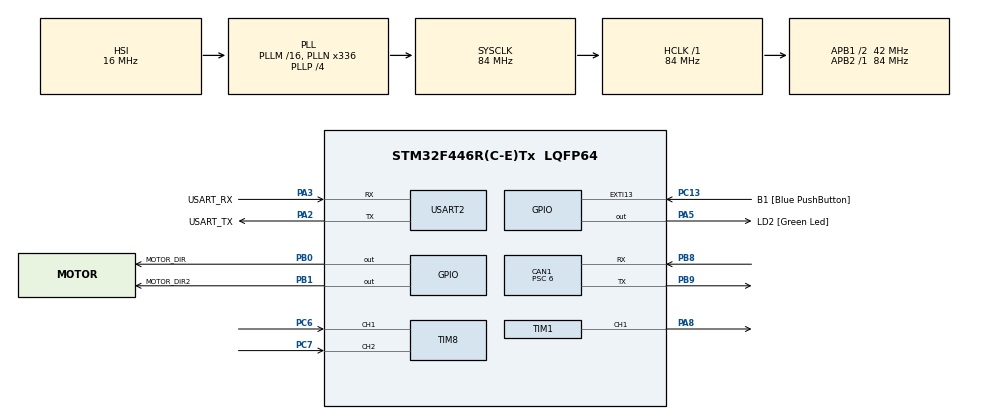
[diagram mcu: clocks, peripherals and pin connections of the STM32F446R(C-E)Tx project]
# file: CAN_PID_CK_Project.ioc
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CAN1.ABOM=ENABLE
CAN1.BS1=CAN_BS1_11TQ
CAN1.BS2=CAN_BS2_2TQ
CAN1.CalculateBaudRate=500000
CAN1.CalculateTimeBit=2000
CAN1.CalculateTimeQuantum=142.85714285714286
CAN1.Mode=CAN_MODE_LOOPBACK
CAN1.Prescaler=6
IWDG.Prescaler=IWDG_PRESCALER_32
IWDG.Reload=2000
Mcu.Family=STM32F4
Mcu.Name=STM32F446R(C-E)Tx
Mcu.Package=LQFP64
NVIC.CAN1_RX0_IRQn=true\:0\:0\:false\:false\:true\:true\:true\:true
NVIC.EXTI15_10_IRQn=true\:0\:0\:false\:false\:true\:true\:true\:true
NVIC.PriorityGroup=NVIC_PRIORITYGROUP_0
NVIC.RTC_Alarm_IRQn=true\:0\:0\:false\:false\:true\:true\:true\:true
NVIC.TIM3_IRQn=true\:0\:0\:false\:false\:true\:true\:true\:true
PA13.GPIO_Label=TMS
PA13.Mode=Serial_Wire
PA13.Signal=SYS_JTMS-SWDIO
PA14.GPIO_Label=TCK
PA14.Mode=Serial_Wire
PA14.Signal=SYS_JTCK-SWCLK
PA2.GPIO_Label=USART_TX
PA2.Mode=Asynchronous
PA2.Signal=USART2_TX
PA3.GPIO_Label=USART_RX
PA3.Mode=Asynchronous
PA3.Signal=USART2_RX
PA5.GPIO_Label=LD2 [Green Led]
PA5.Signal=GPIO_Output
PA8.Signal=S_TIM1_CH1
PB0.GPIO_Label=MOTOR_DIR
PB0.Signal=GPIO_Output
PB1.GPIO_Label=MOTOR_DIR2
PB1.Signal=GPIO_Output
PB3.GPIO_Label=SWO
PB3.Signal=SYS_JTDO-SWO
PB8.GPIO_PuPd=GPIO_PULLUP
PB8.Mode=CAN_Activate
PB8.Signal=CAN1_RX
PB9.GPIO_PuPd=GPIO_PULLUP
PB9.Mode=CAN_Activate
PB9.Signal=CAN1_TX
PC13.GPIO_Label=B1 [Blue PushButton]
PC13.GPIO_ModeDefaultEXTI=GPIO_MODE_IT_FALLING
PC13.Signal=GPXTI13
PC14-OSC32_IN.Mode=LSE-External-Oscillator
PC14-OSC32_IN.Signal=RCC_OSC32_IN
PC15-OSC32_OUT.Mode=LSE-External-Oscillator
PC15-OSC32_OUT.Signal=RCC_OSC32_OUT
PC6.GPIO_ModeDefaultPP=GPIO_MODE_AF_PP
PC6.GPIO_PuPd=GPIO_PULLUP
PC6.GPIO_Speed=GPIO_SPEED_FREQ_MEDIUM
PC6.Signal=S_TIM8_CH1
PC7.GPIO_PuPd=GPIO_PULLUP
PC7.GPIO_Speed=GPIO_SPEED_FREQ_MEDIUM
PC7.Signal=S_TIM8_CH2
PH0-OSC_IN.Mode=HSE-External-Oscillator
PH0-OSC_IN.Signal=RCC_OSC_IN
PH1-OSC_OUT.Mode=HSE-External-Oscillator
PH1-OSC_OUT.Signal=RCC_OSC_OUT
ProjectManager.HeapSize=0x200
ProjectManager.StackSize=0x400
ProjectManager.TargetToolchain=STM32CubeIDE
RCC.48MHZClocksFreq_Value=84000000
RCC.AHBFreq_Value=84000000
RCC.APB1CLKDivider=RCC_HCLK_DIV2
RCC.APB1Freq_Value=42000000
RCC.APB1TimFreq_Value=84000000
RCC.APB2Freq_Value=84000000
RCC.APB2TimFreq_Value=84000000
RCC.CortexFreq_Value=84000000
RCC.FLatency-AdvancedSettings=FLASH_LATENCY_2
RCC.HCLKFreq_Value=84000000
RCC.HSE_VALUE=8000000
RCC.HSI_VALUE=16000000
RCC.PLLN=336
RCC.PLLP=RCC_PLLP_DIV4
RCC.SYSCLKFreq_VALUE=84000000
RCC.SYSCLKSource=RCC_SYSCLKSOURCE_PLLCLK
RCC.USBFreq_Value=168000000
RCC.VCOOutputFreq_Value=336000000
RTC.Alarm=RTC_ALARM_A
RTC.SynchPrediv=249
SH.S_TIM1_CH1.0=TIM1_CH1,PWM Generation1 CH1
SH.S_TIM8_CH1.0=TIM8_CH1,Encoder_Interface
SH.S_TIM8_CH2.0=TIM8_CH2,Encoder_Interface
TIM1.Channel-PWM\ Generation1\ CH1=TIM_CHANNEL_1
TIM1.Period=4199
TIM3.Period=99
TIM3.Prescaler=8399
TIM8.EncoderMode=TIM_ENCODERMODE_TI12
USART2.VirtualMode=VM_ASYNC
VP_IWDG_VS_IWDG.Mode=IWDG_Activate
VP_RTC_VS_RTC_Activate.Mode=RTC_Enabled
VP_RTC_VS_RTC_Alarm_A_Intern.Mode=Alarm A
VP_RTC_VS_RTC_Calendar.Mode=RTC_Calendar
VP_TIM3_VS_ClockSourceINT.Mode=Internal
board=NUCLEO-F446RE

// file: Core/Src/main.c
/* USER CODE BEGIN Header */
/**
  ******************************************************************************
  * @file           : main.c
  * @brief          : Main program body
  ******************************************************************************
  * @attention
  *
  * Copyright (c) 2026 STMicroelectronics.
  * All rights reserved.
  *
  * This software is licensed under terms that can be found in the LICENSE file
  * in the root directory of this software component.
  * If no LICENSE file comes with this software, it is provided AS-IS.
  *
  ******************************************************************************
  */
/* USER CODE END Header */
#include "main.h"
#include "can.h"
#include "iwdg.h"
#include "rtc.h"
#include "tim.h"
#include "usart.h"
#include "gpio.h"

/* USER CODE BEGIN Includes */

#include <stdio.h>
#include <string.h>
#include <math.h>
#include "PID_M.h"
/* USER CODE END Includes */

/* USER CODE BEGIN PTD */
typedef union {
    uint8_t bytes[8];
    struct {
        int32_t target_velocity; // 4바이트: 목표 속도
        int16_t current_torque;  // 2바이트: 현재 토크
        uint8_t status;          // 1바이트: 상태
        uint8_t mode;            // 1바이트: 동작 모드
    } data;
} MotorPacket;
/* USER CODE END PTD */

/* USER CODE BEGIN PV */
CAN_TxHeaderTypeDef TxHeader;
CAN_RxHeaderTypeDef RxHeader;
//uint8_t TxData[8];
//volatile uint8_t RxData[8];
uint32_t TxMailbox;

MotorPacket txPacket;
volatile MotorPacket rxPacket;

uint32_t last_tx_tick = 0;
volatile uint8_t wakeup_flag = 0;

PID_Controller motorPID;

// 2. 모터 제어 변수 설정
float target_rpm = 100.0f;   // 목표 회전수 (RPM)
float current_rpm = 0.0f;    // 현재 측정 회전수
float control_output = 0.0f; // PID 계산 결과 (PWM Duty)

// 3. 모터 설정 (N20 모터에 맞춰 파라미터 설정)
const float PPR = 11.0f;       // 한 바퀴당 펄스
const float GEAR_RATIO = 50.0f; // 기어비 (예: 1:50)
const float SAMPLING_TIME = 0.01f; // 10ms (TIM3 주기)

volatile uint8_t button_wake = 0;
/* USER CODE END PV */

void SystemClock_Config(void);
/* USER CODE BEGIN PFP */
void Update_Motor_Drive(float output);
void Set_RTC_Alarm_Seconds(uint8_t seconds);
float Get_Motor_RPM(void);
/* USER CODE END PFP */

int main(void)
{

  /* MCU Configuration--------------------------------------------------------*/

  /* Reset of all peripherals, Initializes the Flash interface and the Systick. */
  HAL_Init();

  /* Configure the system clock */
  SystemClock_Config();

  /* Initialize all configured peripherals */
  MX_GPIO_Init();
  MX_USART2_UART_Init();
  MX_CAN1_Init();
//  MX_IWDG_Init();
  MX_RTC_Init();
  MX_TIM1_Init();
  MX_TIM3_Init();
  MX_TIM8_Init();
  /* USER CODE BEGIN 2 */
  memset(&TxHeader, 0, sizeof(TxHeader));
  PID_Init(&motorPID, 20.0f, 10.0f, 0.0f, SAMPLING_TIME, -4199.0f, 4199.0f);

    // 2. 타이머 및 인터럽트 시작
  //HAL_GPIO_TogglePin(LD2_GPIO_Port, LD2_Pin);
  HAL_TIM_Base_Start_IT(&htim3);      // 10ms 제어 주기 타이머 시작
  HAL_TIM_Encoder_Start(&htim8, TIM_CHANNEL_ALL); // 엔코더 카운터 시작
  HAL_TIM_PWM_Start(&htim1, TIM_CHANNEL_1);       // PWM 출력 시작
  printf("System Ready: PID Motor Control\r\n");

  if (__HAL_RCC_GET_FLAG(RCC_FLAG_IWDGRST)) {
      printf("🔥 범인 검거: IWDG (독립형 와치독) 리셋!\r\n");
  }
  if (__HAL_RCC_GET_FLAG(RCC_FLAG_WWDGRST)) {
      printf("🔥 범인 검거: WWDG (윈도우 와치독) 리셋!\r\n");
  }
  if (__HAL_RCC_GET_FLAG(RCC_FLAG_PORRST)) {
      printf("🔥 범인 검거: POR/PDR (전원 불안정) 리셋!\r\n");
  }
  if (__HAL_RCC_GET_FLAG(RCC_FLAG_SFTRST)) {
      printf("🔥 범인 검거: 소프트웨어 리셋!\r\n");
  }
    // 확인 후 리셋 플래그 깨끗하게 지우기
    __HAL_RCC_CLEAR_RESET_FLAGS();

  TxHeader.StdId = 0x123;
  TxHeader.ExtId = 0x01;
  TxHeader.RTR = CAN_RTR_DATA;
  TxHeader.IDE = CAN_ID_STD;
  TxHeader.DLC = 8;
  TxHeader.TransmitGlobalTime = DISABLE;

  CAN_FilterTypeDef sFilterConfig;
  sFilterConfig.FilterBank = 1;
  sFilterConfig.FilterMode = CAN_FILTERMODE_IDMASK;
  sFilterConfig.FilterScale = CAN_FILTERSCALE_32BIT;

  // 🚨 필터 ID를 0으로 몽땅 비우면 모든 신호를 다 받습니다.
  sFilterConfig.FilterIdHigh = 0x0000;
  sFilterConfig.FilterIdLow = 0x0000;
  sFilterConfig.FilterMaskIdHigh = 0x0000;
  sFilterConfig.FilterMaskIdLow = 0x0000;

  sFilterConfig.FilterFIFOAssignment = CAN_RX_FIFO0;
  sFilterConfig.FilterActivation = ENABLE;
  sFilterConfig.SlaveStartFilterBank = 14;
  HAL_CAN_ConfigFilter(&hcan1, &sFilterConfig);

  if (HAL_CAN_ConfigFilter(&hcan1, &sFilterConfig) != HAL_OK) {
      Error_Handler();
  }

  if (HAL_CAN_Start(&hcan1) != HAL_OK) {
      Error_Handler();
  }
  HAL_Delay(10);
  if (HAL_CAN_GetState(&hcan1) == HAL_CAN_STATE_LISTENING) {
      if (HAL_CAN_AddTxMessage(&hcan1, &TxHeader, txPacket.bytes, &TxMailbox) != HAL_OK) {
          // 에러 발생 시 처리 코드
          uint32_t err = HAL_CAN_GetError(&hcan1);
          printf("CAN Send Error: %lu\r\n", err);
      }
  }
    // 5. 초기 송신 테스트 (AddTxMessage)

//  HAL_GPIO_WritePin(LD2_GPIO_Port, LD2_Pin, GPIO_PIN_SET);
  HAL_CAN_ActivateNotification(&hcan1, CAN_IT_RX_FIFO0_MSG_PENDING);
  HAL_CAN_ActivateNotification(&hcan1, CAN_IT_WAKEUP);
  txPacket.data.target_velocity = 0;

  /* USER CODE END 2 */

  /* Infinite loop */
  while (1)
  {

    /* USER CODE BEGIN 3 */
      // =================================================================
      // STEP 1: 기상 직후 시스템 대기 시작
      // (아두이노의 첫 번째 '더미 프레임'을 맞고 여기서부터 깨어납니다!)
      // =================================================================
      printf("\r\n🌞 Woke up from SLEEP Mode! Waiting for Arduino Command...\r\n");

      // =================================================================
      // STEP 2: 아두이노가 보내는 '진짜 명령(Rx)' 수신 대기
      // =================================================================
      uint32_t timeout = HAL_GetTick();
      // 아두이노가 깨우고 나서 진짜 명령을 보낼 때까지 최대 1초 정도 기다려줌
      while (wakeup_flag == 0) {
          if (HAL_GetTick() - timeout > 1000) {
              printf("⚠️ Command Receive Timeout! Going back to sleep...\r\n");
              break;
          }
      }

      // =================================================================
      // STEP 3: 명령 수신 확인 후 모터 구동
      // =================================================================
      if (wakeup_flag == 1) {
          printf("📥 CAN Command Received from Arduino! Target RPM: %ld\r\n", rxPacket.data.target_velocity);
          wakeup_flag = 0; // 플래그 초기화

          target_rpm = (float)rxPacket.data.target_velocity;

          printf("🔄 PID Auto Driving & Monitoring (3 Seconds)...\r\n");

          for (int i = 0; i < 300; i++) {
              if (i % 50 == 0) {
                  printf("   [MONITOR] Current RPM: %.2f\r\n", current_rpm);
              }
              HAL_Delay(10);
          }
      }
      // =================================================================
      // STEP 4: 구동 종료 후 안전 정지 및 SLEEP 모드 진입 준비
      // =================================================================
      printf("⏸️ Mission Complete. Stopping Motor and Preparing for Sleep...\r\n");
      HAL_TIM_Base_Stop_IT(&htim3);
      Update_Motor_Drive(0.0f);
      target_rpm = 0.0f;

      // =================================================================
      // STEP 5: SLEEP 모드 (아두이노가 깨울 때까지 대기 💤)
      // =================================================================
      printf("⏸️ I'll Going to Sleep Mode...\r\n");

      // [중요] 마지막 로그가 UART를 통해 완전히 나갈 때까지 대기
      while (__HAL_UART_GET_FLAG(&huart2, UART_FLAG_TC) == RESET);

      // 🚨 [핵심] SLEEP 모드에서는 Systick을 끄면 아예 안 일어날 수 있으므로 유지합니다.
      // HAL_SuspendTick(); // 주석 처리 또는 삭제

      // CPU를 SLEEP 모드로 진입 (클럭 유지, CPU만 정지)
      printf("⏸️ Going to Sleep Mode...\r\n");
      HAL_PWR_EnterSLEEPMode(PWR_MAINREGULATOR_ON, PWR_SLEEPENTRY_WFI);

      // =================================================================
      // STEP 6: 깨어난 직후 시스템 복구
      // =================================================================
      // 🚨 [핵심 변경] SLEEP 모드에서는 클럭이 죽지 않으므로 SystemClock_Config()를 호출하면 안 됩니다! (호출 시 충돌 발생)
      // SystemClock_Config(); <- 삭제됨
      // HAL_ResumeTick();     <- Suspend를 안 했으므로 삭제됨

      // 클럭이 유지되었으므로 바로 로그 출력이 가능합니다.
      printf("⏸️ I'll Wake UP...\r\n");

      // CAN 컨트롤러는 이미 살아있으므로 WakeUp 함수 생략 가능
      // HAL_CAN_WakeUp(&hcan1); <- 삭제됨

      HAL_CAN_ActivateNotification(&hcan1, CAN_IT_RX_FIFO0_MSG_PENDING);
      HAL_TIM_Base_Start_IT(&htim3);

      printf("✅ System Restored! Ready for next command.\r\n");
  }
  /* USER CODE END 3 */
}

void SystemClock_Config(void)
{
  RCC_OscInitTypeDef RCC_OscInitStruct = {0};
  RCC_ClkInitTypeDef RCC_ClkInitStruct = {0};

  /** Configure the main internal regulator output voltage
  */
  __HAL_RCC_PWR_CLK_ENABLE();
  __HAL_PWR_VOLTAGESCALING_CONFIG(PWR_REGULATOR_VOLTAGE_SCALE3);

  /** Initializes the RCC Oscillators according to the specified parameters
  * in the RCC_OscInitTypeDef structure.
  */
  RCC_OscInitStruct.OscillatorType = RCC_OSCILLATORTYPE_HSI|RCC_OSCILLATORTYPE_LSI;
  RCC_OscInitStruct.LSEState = RCC_LSE_ON;
  RCC_OscInitStruct.HSIState = RCC_HSI_ON;
  RCC_OscInitStruct.HSICalibrationValue = RCC_HSICALIBRATION_DEFAULT;
  RCC_OscInitStruct.LSIState = RCC_LSI_ON;
  RCC_OscInitStruct.PLL.PLLState = RCC_PLL_ON;
  RCC_OscInitStruct.PLL.PLLSource = RCC_PLLSOURCE_HSI;
  RCC_OscInitStruct.PLL.PLLM = 16;
  RCC_OscInitStruct.PLL.PLLN = 336;
  RCC_OscInitStruct.PLL.PLLP = RCC_PLLP_DIV4;
  RCC_OscInitStruct.PLL.PLLQ = 2;
  RCC_OscInitStruct.PLL.PLLR = 2;
  if (HAL_RCC_OscConfig(&RCC_OscInitStruct) != HAL_OK)
  {
    Error_Handler();
  }

  /** Initializes the CPU, AHB and APB buses clocks
  */
  RCC_ClkInitStruct.ClockType = RCC_CLOCKTYPE_HCLK|RCC_CLOCKTYPE_SYSCLK
                              |RCC_CLOCKTYPE_PCLK1|RCC_CLOCKTYPE_PCLK2;
  RCC_ClkInitStruct.SYSCLKSource = RCC_SYSCLKSOURCE_PLLCLK;
  RCC_ClkInitStruct.AHBCLKDivider = RCC_SYSCLK_DIV1;
  RCC_ClkInitStruct.APB1CLKDivider = RCC_HCLK_DIV2;
  RCC_ClkInitStruct.APB2CLKDivider = RCC_HCLK_DIV1;

  if (HAL_RCC_ClockConfig(&RCC_ClkInitStruct, FLASH_LATENCY_2) != HAL_OK)
  {
    Error_Handler();
  }
}

/* USER CODE BEGIN 4 */

static uint16_t stall_counter = 0;
// 모터 차단 상태를 기억하는 변수 (1이면 차단됨)
static uint8_t motor_fault = 0;

int _write(int file, char *ptr, int len)
{
    // MX_USART2_UART_Init()에서 설정된 UART2를 통해 printf를 출력합니다.
    HAL_UART_Transmit(&huart2, (uint8_t *)ptr, len, HAL_MAX_DELAY);
    return len;
}

void HAL_CAN_RxFifo0MsgPendingCallback(CAN_HandleTypeDef *hcan)
{
    if (hcan->Instance == CAN1)
    {
        if (HAL_CAN_GetRxMessage(hcan, CAN_RX_FIFO0, &RxHeader, (uint8_t *)rxPacket.bytes) == HAL_OK)
        {
            wakeup_flag = 1; // [핵심] 메시지 수신 플래그를 1로 세팅!
            HAL_GPIO_TogglePin(LD2_GPIO_Port, LD2_Pin); // 보드 LED 토글
        }
    }
}

void Set_RTC_Alarm_Seconds(uint8_t seconds)
{
    RTC_AlarmTypeDef sAlarm = {0};
    RTC_TimeTypeDef sTime = {0};
    RTC_DateTypeDef sDate = {0}; // 날짜 구조체 추가

    // 현재 시간을 먼저 읽어옵니다 (현재 시간을 기준으로 알람을 맞춰야 하니까요)
    HAL_RTC_GetTime(&hrtc, &sTime, RTC_FORMAT_BIN);
    HAL_RTC_GetDate(&hrtc, &sDate, RTC_FORMAT_BIN); // 이 코드가 빠지면 시간 갱신이 안 될 수 있습니다.

    sAlarm.AlarmTime.Hours = sTime.Hours;
    sAlarm.AlarmTime.Minutes = sTime.Minutes;

    sAlarm.AlarmTime.Seconds = (sTime.Seconds + seconds) % 60; // 현재 초에 + n초를 더함
    sAlarm.AlarmTime.SubSeconds = 0;

    // 시, 분은 무시하고 '초'만 일치하면 알람 발생
    sAlarm.AlarmMask = RTC_ALARMMASK_DATEWEEKDAY | RTC_ALARMMASK_HOURS | RTC_ALARMMASK_MINUTES;
    sAlarm.AlarmSubSecondMask = RTC_ALARMSUBSECONDMASK_ALL;
    sAlarm.AlarmDateWeekDaySel = RTC_ALARMDATEWEEKDAYSEL_DATE;

    sAlarm.Alarm = RTC_ALARM_A;

    if (HAL_RTC_SetAlarm_IT(&hrtc, &sAlarm, RTC_FORMAT_BIN) != HAL_OK)
    {
        Error_Handler();
    }
}

void HAL_TIM_PeriodElapsedCallback(TIM_HandleTypeDef *htim)
{
    if (htim->Instance == TIM3) // 10ms 타이머 인터럽트
    {
        current_rpm = Get_Motor_RPM(); // 1. 현재 속도 측정

        // 2. PID 계산 (목표 속도와 현재 속도를 비교하여 PWM 값 뽑아냄)
        control_output = PID_Compute(&motorPID, target_rpm, current_rpm);

        // 3. 모터에 PWM 인가
        Update_Motor_Drive(control_output);
    }
}

// 모터 제어 신호 업데이트 (방향 및 속도)
void Update_Motor_Drive(float output)
{
    if (motor_fault == 1) {
        HAL_GPIO_WritePin(MOTOR_DIR_GPIO_Port, MOTOR_DIR_Pin, GPIO_PIN_RESET);
        HAL_GPIO_WritePin(MOTOR_DIR2_GPIO_Port, MOTOR_DIR2_Pin, GPIO_PIN_RESET);
        __HAL_TIM_SET_COMPARE(&htim1, TIM_CHANNEL_1, 0);
        return; // 작동 중지
    }

    uint32_t pwm_value = (uint32_t)(fabs(output));

    // =================================================================
    // 🚨 [안전] 스톨(Stall) 감지 방어 로직
    // 조건: PWM 출력이 80%(약 3300) 이상으로 빵빵한데, 현재 RPM이 5 미만일 때
    // =================================================================
    if (pwm_value > 3300 && fabs(current_rpm) < 5.0f) {
        stall_counter++; // 10ms마다 카운터 증가

        // 0.5초(10ms * 50번) 이상 계속 막혀있다면 -> 모터 타기 직전!
        if (stall_counter > 50) {
            motor_fault = 1; // 모터 고장 플래그 발동 (더 이상 구동 불가)
            printf("🚨 [FATAL ERROR] Motor Stall Detected! System Shutdown.\r\n");

            // 전력 즉각 차단
            HAL_GPIO_WritePin(MOTOR_DIR_GPIO_Port, MOTOR_DIR_Pin, GPIO_PIN_RESET);
            HAL_GPIO_WritePin(MOTOR_DIR2_GPIO_Port, MOTOR_DIR2_Pin, GPIO_PIN_RESET);
            __HAL_TIM_SET_COMPARE(&htim1, TIM_CHANNEL_1, 0);
            return;
        }
    } else {
        // 모터가 정상적으로 돌고 있거나, 대기 중일 때는 카운터 초기화
        stall_counter = 0;
    }

    // =================================================================
    // 2. 모터 구동 로직 (기존 코드와 동일)
    // =================================================================
    if (output >= 0) {
        HAL_GPIO_WritePin(MOTOR_DIR_GPIO_Port, MOTOR_DIR_Pin, GPIO_PIN_SET);
        HAL_GPIO_WritePin(MOTOR_DIR2_GPIO_Port, MOTOR_DIR2_Pin, GPIO_PIN_RESET);
        __HAL_TIM_SET_COMPARE(&htim1, TIM_CHANNEL_1, pwm_value);
    } else {
        HAL_GPIO_WritePin(MOTOR_DIR_GPIO_Port, MOTOR_DIR_Pin, GPIO_PIN_RESET);
        HAL_GPIO_WritePin(MOTOR_DIR2_GPIO_Port, MOTOR_DIR2_Pin, GPIO_PIN_SET);
        __HAL_TIM_SET_COMPARE(&htim1, TIM_CHANNEL_1, pwm_value);
    }
}

float Get_Motor_RPM(void)
{
    // 1. 하드웨어 타이머(TIM8)에서 엔코더 펄스 값 읽어오기
    int16_t raw_cnt = (int16_t)__HAL_TIM_GET_COUNTER(&htim8);

    // 2. 다음 주기를 위해 카운터 0으로 초기화
    __HAL_TIM_SET_COUNTER(&htim8, 0);

    // 3. RPM 계산 공식 적용
    // RPM = (측정 펄스 / 1바퀴당 총 펄스) * (1초/샘플링시간) * 60초
    float rpm = ((float)raw_cnt / (PPR * GEAR_RATIO * 4.0f)) * (1.0f / SAMPLING_TIME) * 60.0f;

    return rpm;
}

void HAL_GPIO_EXTI_Callback(uint16_t GPIO_Pin)
{
    if(GPIO_Pin == B1_Pin) // B1_Pin이 PC13으로 설정되어 있으므로 이를 확인
    {
    	button_wake = 1;
    }
}
/* USER CODE END 4 */

void Error_Handler(void)
{
  /* USER CODE BEGIN Error_Handler_Debug */
  /* User can add his own implementation to report the HAL error return state */
  __disable_irq();
  while (1)
  {
      //HAL_UART_Transmit(&huart2, (uint8_t *)"🚨 Error Handler Trap!\r\n", 26, 100);
      HAL_Delay(1000); // 1초마다 출력 (원래 Systick이 죽어서 Delay가 안 먹힐 수 있으나, 일단 시도)
  }
  /* USER CODE END Error_Handler_Debug */
}
